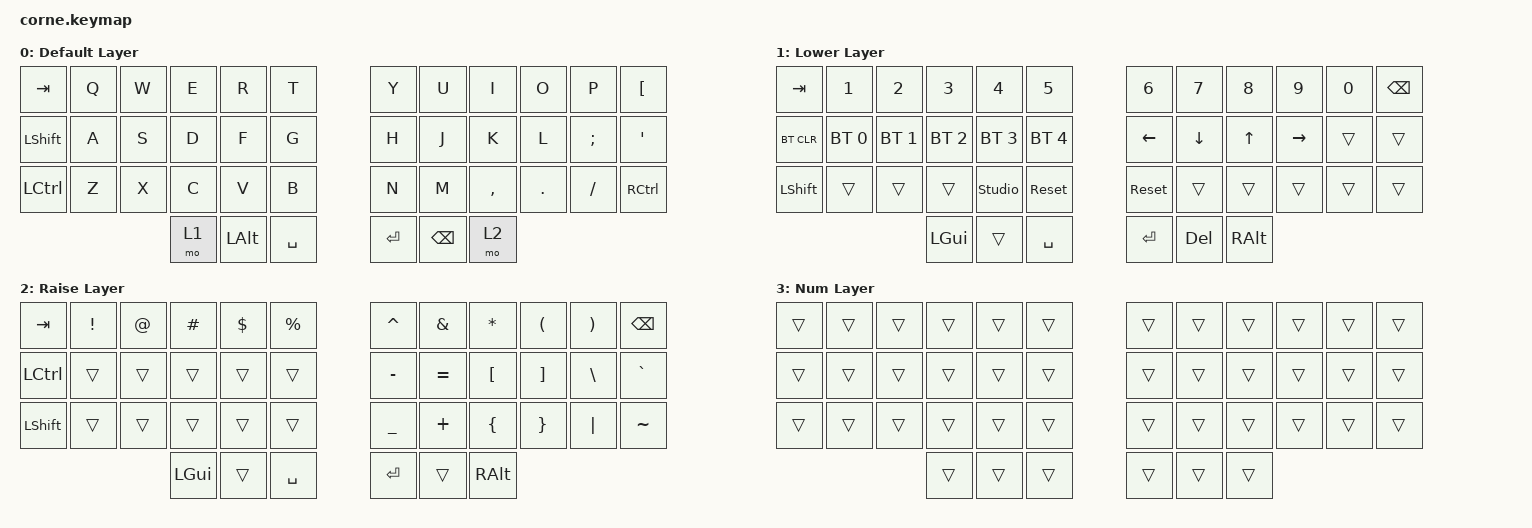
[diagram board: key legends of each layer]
/*
 * Copyright (c) 2020 The ZMK Contributors
 *
 * SPDX-License-Identifier: MIT
 */

#include <behaviors.dtsi>
#include <dt-bindings/zmk/bt.h>
#include <dt-bindings/zmk/keys.h>

/ {
    keymap {
        compatible = "zmk,keymap";

        default_layer {
            display-name = "Default Layer";

            // -----------------------------------------------------------------------------------------
            // |  TAB |  Q  |  W  |  E  |  R  |  T  |   |  Y  |  U   |  I  |  O  |  P  | BSPC |
            // | CTRL |  A  |  S  |  D  |  F  |  G  |   |  H  |  J   |  K  |  L  |  ;  |  '   |
            // | SHFT |  Z  |  X  |  C  |  V  |  B  |   |  N  |  M   |  ,  |  .  |  /  | ESC  |
            //                    | GUI | LWR | SPC |   | ENT | RSE  | ALT |

            bindings = <
&kp TAB     &kp Q  &kp W  &kp E  &kp R     &kp T        &kp Y    &kp U     &kp I      &kp O    &kp P     &kp LEFT_BRACKET
&kp LSHIFT  &kp A  &kp S  &kp D  &kp F     &kp G        &kp H    &kp J     &kp K      &kp L    &kp SEMI  &kp SQT
&kp LCTRL   &kp Z  &kp X  &kp C  &kp V     &kp B        &kp N    &kp M     &kp COMMA  &kp DOT  &kp FSLH  &kp RCTRL
                          &mo 1  &kp LALT  &kp SPACE    &kp RET  &kp BSPC  &mo 2
            >;
        };

        lower_layer {
            display-name = "Lower Layer";

            // -----------------------------------------------------------------------------------------
            // |  TAB |  1  |  2  |  3  |  4  |  5  |   |  6  |  7  |  8  |  9  |  0  | BSPC |
            // | BTCLR| BT1 | BT2 | BT3 | BT4 | BT5 |   | LFT | DWN |  UP | RGT |     |      |
            // | SHFT |     |     |     |     |     |   |     |     |     |     |     |      |
            //                    | GUI |     | SPC |   | ENT |     | ALT |

            bindings = <
&kp TAB     &kp N1        &kp N2        &kp N3        &kp N4          &kp N5          &kp N6      &kp N7    &kp N8    &kp N9     &kp N0  &kp BSPC
&bt BT_CLR  &bt BT_SEL 0  &bt BT_SEL 1  &bt BT_SEL 2  &bt BT_SEL 3    &bt BT_SEL 4    &kp LEFT    &kp DOWN  &kp UP    &kp RIGHT  &trans  &trans
&kp LSHFT   &trans        &trans        &trans        &studio_unlock  &sys_reset      &sys_reset  &trans    &trans    &trans     &trans  &trans
                                        &kp LGUI      &trans          &kp SPACE       &kp RET     &kp DEL   &kp RALT
            >;
        };

        raise_layer {
            display-name = "Raise Layer";

            // -----------------------------------------------------------------------------------------
            // |  TAB |  !  |  @  |  #  |  $  |  %  |   |  ^  |  &  |  *  |  (  |  )  | BSPC |
            // | CTRL |     |     |     |     |     |   |  -  |  =  |  [  |  ]  |  \  |  `   |
            // | SHFT |     |     |     |     |     |   |  _  |  +  |  {  |  }  | "|" |  ~   |
            //                    | GUI |     | SPC |   | ENT |     | ALT |

            bindings = <
&kp TAB    &kp EXCL  &kp AT  &kp HASH  &kp DLLR  &kp PRCNT    &kp CARET  &kp AMPS   &kp ASTRK  &kp LPAR  &kp RPAR  &kp BSPC
&kp LCTRL  &trans    &trans  &trans    &trans    &trans       &kp MINUS  &kp EQUAL  &kp LBKT   &kp RBKT  &kp BSLH  &kp GRAVE
&kp LSHFT  &trans    &trans  &trans    &trans    &trans       &kp UNDER  &kp PLUS   &kp LBRC   &kp RBRC  &kp PIPE  &kp TILDE
                             &kp LGUI  &trans    &kp SPACE    &kp RET    &trans     &kp RALT
            >;
        };

        num_layer {
            display-name = "Num Layer";
            bindings = <
&trans  &trans  &trans  &trans  &trans  &trans    &trans  &trans  &trans  &trans  &trans  &trans
&trans  &trans  &trans  &trans  &trans  &trans    &trans  &trans  &trans  &trans  &trans  &trans
&trans  &trans  &trans  &trans  &trans  &trans    &trans  &trans  &trans  &trans  &trans  &trans
                        &trans  &trans  &trans    &trans  &trans  &trans
            >;
        };
    };
};
